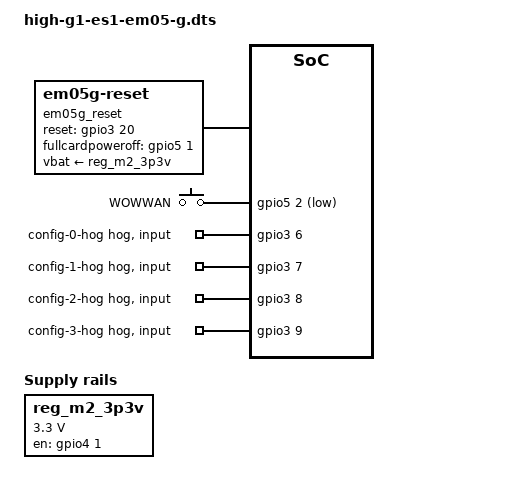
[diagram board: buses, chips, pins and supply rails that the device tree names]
// SPDX-License-Identifier: (GPL-2.0 OR MIT)
/*
 * Copyright (C) 2024 Atmark Techno, Inc. All Rights Reserved.
 */

/dts-v1/;
/plugin/;

#include <dt-bindings/gpio/gpio.h>
#include <dt-bindings/clock/imx8mp-clock.h>
#include <dt-bindings/input/input.h>
#include <dt-bindings/interrupt-controller/irq.h>

#include "imx8mp-pinfunc.h"

/* The PCM function of EM05-G is not used. */

&{/} {
	reg_m2_3p3v: regulator-m2-3v3 {
		compatible = "regulator-fixed";
		regulator-name = "m2_3v3";
		pinctrl-names = "default";
		pinctrl-0 = <&pinctrl_m2_3v3>;
		regulator-min-microvolt = <3300000>;
		regulator-max-microvolt = <3300000>;
		gpio = <&gpio4 1 GPIO_ACTIVE_HIGH>;
		enable-active-high;
		regulator-always-on;
		off-on-delay = <100000>;
		startup-delay-us = <500>;
	};

	em05g_reset: em05g-reset {
		compatible = "em05g-reset";
		pinctrl-names = "default";
		pinctrl-0 = <&pinctrl_em05g_reset>;
		reset-gpios = <&gpio3 20 GPIO_ACTIVE_HIGH>;
		fullcardpoweroff-gpios = <&gpio5 1 GPIO_ACTIVE_HIGH>;
		vbat-supply = <&reg_m2_3p3v>;
	};

	wowwan {
		compatible = "gpio-keys";
		pinctrl-names = "default";
		pinctrl-0 = <&pinctrl_wowwan>;

		gpio_keys_wowwan: wowwan {
			label = "WOWWAN";
			gpios = <&gpio5 2 GPIO_ACTIVE_LOW>;
			linux,code = <KEY_WAKEUP>;
		};
	};
};

&gpio3 {
	pinctrl-names = "default";
	pinctrl-0 = <&pinctrl_em05g_gpio3>;

	config-0-hog {
		gpio-hog;
		gpios = <6 GPIO_ACTIVE_HIGH>;
		input;
	};

	config-1-hog {
		gpio-hog;
		gpios = <7 GPIO_ACTIVE_HIGH>;
		input;
	};

	config-2-hog {
		gpio-hog;
		gpios = <8 GPIO_ACTIVE_HIGH>;
		input;
	};

	config-3-hog {
		gpio-hog;
		gpios = <9 GPIO_ACTIVE_HIGH>;
		input;
	};
};

&iomuxc {
	pinctrl_em05g_gpio3: em05g-gpio3grp{
		fsl,pins = <
			MX8MP_IOMUXC_NAND_DATA00__GPIO3_IO06	0x40000140 /* M2_CONFIG_0 */
			MX8MP_IOMUXC_NAND_DATA01__GPIO3_IO07	0x40000140 /* M2_CONFIG_1 */
			MX8MP_IOMUXC_NAND_DATA02__GPIO3_IO08	0x40000140 /* M2_CONFIG_2 */
			MX8MP_IOMUXC_NAND_DATA03__GPIO3_IO09	0x40000140 /* M2_CONFIG_3 */

			/* It cannot be used as UART. When you pull up
			 * the device, it will be in QDL mode, so you
			 * will not be able to use LTE.
			 */
			MX8MP_IOMUXC_NAND_CE0_B__GPIO3_IO01	0x100 /* M2_UART_TXD */
			MX8MP_IOMUXC_NAND_ALE__GPIO3_IO00	0x100 /* M2_UART_RXD */
		>;
	};

	pinctrl_wowwan: wowwan_grp {
		fsl,pins = <
			MX8MP_IOMUXC_SAI3_MCLK__GPIO5_IO02	0x140 /* M2_WOWWAN# */
		>;
	};

	pinctrl_em05g_reset: em05g_reset_grp {
		fsl,pins = <
			MX8MP_IOMUXC_SAI5_RXC__GPIO3_IO20	0x20 /* M2_RESET# */
			MX8MP_IOMUXC_SAI3_TXD__GPIO5_IO01	0x40000000 /* M2_FULL_CARD_POWER_OFF_N*/
		>;
	};

	pinctrl_m2_3v3: m2_3v3grp {
		fsl,pins = <
			MX8MP_IOMUXC_SAI1_RXC__GPIO4_IO01	0x40000000 /* M2_3V3_EN */
		>;
	};
};
